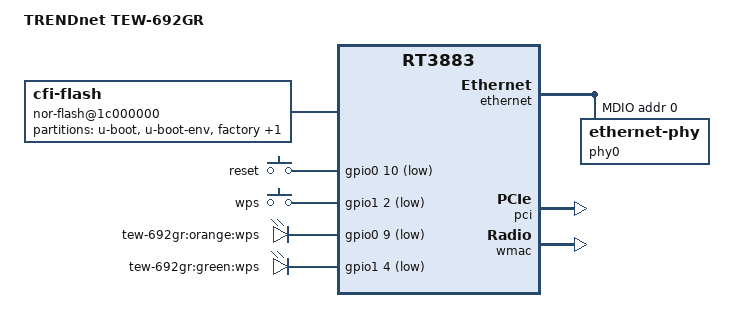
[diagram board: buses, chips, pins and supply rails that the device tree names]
/dts-v1/;

#include "rt3883.dtsi"

/ {
	compatible = "TEW-692GR", "ralink,rt3883-soc";
	model = "TRENDnet TEW-692GR";

	nor-flash@1c000000 {
		compatible = "cfi-flash";
		reg = <0x1c000000 0x800000>;
		bank-width = <2>;
		#address-cells = <1>;
		#size-cells = <1>;

		partition@0 {
			reg = <0x0 0x0030000>;
			label = "u-boot";
			read-only;
		};

		partition@30000 {
			reg = <0x00030000 0x00010000>;
			label = "u-boot-env";
			read-only;
		};

		factory: partition@40000 {
			reg = <0x00040000 0x00010000>;
			label = "factory";
			read-only;
		};

		partition@50000 {
			reg = <0x00050000 0x007b0000>;
			label = "firmware";
		};
	};

	gpio-keys-polled {
		compatible = "gpio-keys-polled";
		#address-cells = <1>;
		#size-cells = <0>;
		poll-interval = <100>;

		reset {
			label = "reset";
			gpios = <&gpio0 10 1>;
			linux,code = <0x198>;
		};

		wps {
			label = "wps";
			gpios = <&gpio1 2 1>;
			linux,code = <0x211>;
		};
	};

	gpio-leds {
		compatible = "gpio-leds";

		wps {
			label = "tew-692gr:orange:wps";
			gpios = <&gpio0 9 1>;
		};

		wps2 {
			label = "tew-692gr:green:wps";
			gpios = <&gpio1 4 1>;
		};
	};
};

&gpio1 {
	status = "okay";
};

&pinctrl {
	state_default: pinctrl0 {
		gpio {
			ralink,group = "spi", "i2c", "jtag", "uartf";
			ralink,function = "gpio";
		};
	};
};

&ethernet {
	status = "okay";
	mtd-mac-address = <&factory 0x28>;

	port@0 {
		phy-handle = <&phy0>;
		phy-mode = "rgmii";
	};

	mdio-bus {
		status = "okay";

		phy0: ethernet-phy@0 {
			reg = <0>;
		};
	};
};

&pci {
	status = "okay";
	pinctrl-names = "default";
	pinctrl-0 = <&pci_pins>;

	pci_pins: pci {
		pci {
			ralink,group = "pci";
			ralink,function = "pci-fnc";
		};
	};

	host-bridge {
		pci-bridge@1 {
			status = "okay";
		};
	};
};

&wmac {
	ralink,5ghz = <0>;
};
